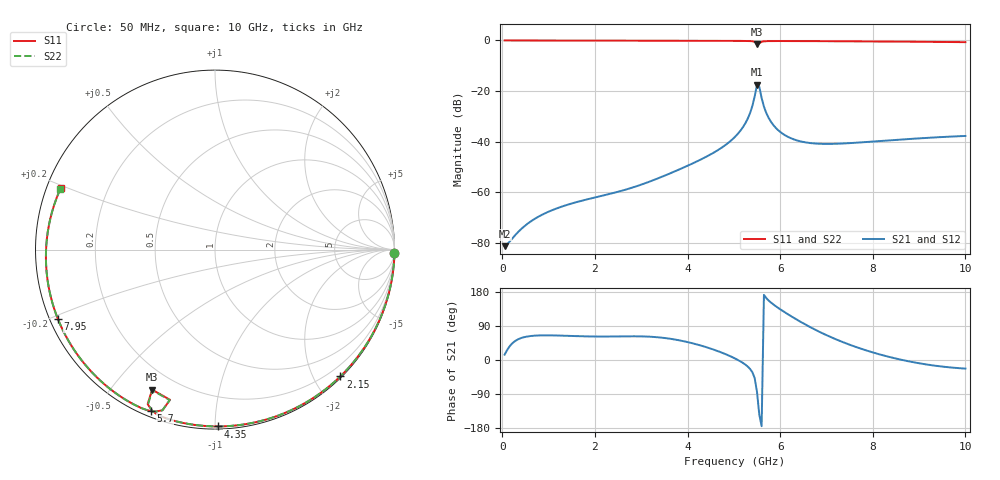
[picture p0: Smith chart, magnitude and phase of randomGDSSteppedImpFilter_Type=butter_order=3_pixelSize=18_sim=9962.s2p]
! freq	dB(S11)	phase(S11)	dB(S12)	phase(S12)
!  dB(S21)	phase(S21)	dB(S22)	phase(S22)
!S-par simulation data
#  GHz  S  DB  R 50
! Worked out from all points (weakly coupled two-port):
!   200 points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, 50 MHz to 10 GHz, reference 50 ohm
!   highest |S21| = -17.54 dB at 5.5 GHz (marker M1); lowest = -81.4 dB at 50 MHz (marker M2)
!   lowest |S11| = -1.4 dB at 5.5 GHz (marker M3), VSWR 12.81, Z = 5.53 - j32.1 ohm
!   |S11| at or under -10 dB: nowhere
!   |S22| runs from -1.3 to 0.0 dB; largest |S21 - S12| = 0
!   S11 on the Smith chart (normalised r, x): 50 MHz: open; 2.15 GHz: 0.02, -2.39; 4.35 GHz: 0.02, -1.02; 5.7 GHz: 0.02, -0.68; 7.95 GHz: 0.02, -0.21; 10 GHz: 0.04, +0.19
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0.05  -0.00 -1.1  -81.36 14.1  -81.36 14.1  -0.00 -1.1
0.15  -0.00 -3.2  -79.71 34.8  -79.71 34.8  -0.00 -3.2
0.45  -0.01 -9.7  -73.89 59.6  -73.89 59.6  -0.01 -9.7
0.8  -0.02 -17.2  -69.50 64.9  -69.50 64.9  -0.02 -17.1
1.75  -0.05 -37.1  -63.22 62.5  -63.22 62.5  -0.05 -37.1
2.15  -0.06 -45.3  -61.44 61.9  -61.44 61.9  -0.06 -45.3
3.4  -0.09 -70.4  -54.26 59.5  -54.26 59.5  -0.09 -70.4
4.35  -0.13 -88.9  -46.51 35.9  -46.51 35.9  -0.13 -88.9
5.05  -0.17 -102.6  -37.65 2.5  -37.65 2.5  -0.17 -102.5
5.2  -0.18 -105.8  -34.19 -8.1  -34.19 -8.1  -0.18 -105.7
5.35  -0.25 -109.6  -28.74 -23.5  -28.74 -23.5  -0.25 -109.5
5.5  -1.36 -114.2  -17.54 -84.3  -17.54 -84.3  -1.33 -114.0
5.55  -1.17 -106.7  -18.31 -144.6  -18.31 -144.6  -1.15 -106.7
5.6  -0.52 -108.1  -22.78 -174.6  -22.78 -174.6  -0.51 -108.1
5.7  -0.28 -111.7  -28.67 163.4  -28.67 163.4  -0.28 -111.7
5.85  -0.23 -115.4  -33.39 146.9  -33.39 146.9  -0.23 -115.4
6.05  -0.23 -119.6  -36.84 129.9  -36.84 129.9  -0.23 -119.6
6.7  -0.27 -132.1  -40.68 83.5  -40.68 83.5  -0.27 -132.1
7.95  -0.38 -156.3  -40.05 21.8  -40.05 21.8  -0.38 -156.2
8.35  -0.43 -164.4  -39.52 8.2  -39.52 8.2  -0.43 -164.3
9.2  -0.54 177.4  -38.50 -12.5  -38.50 -12.5  -0.54 177.5
10  -0.67 158.4  -37.77 -22.7  -37.77 -22.7  -0.67 158.5
